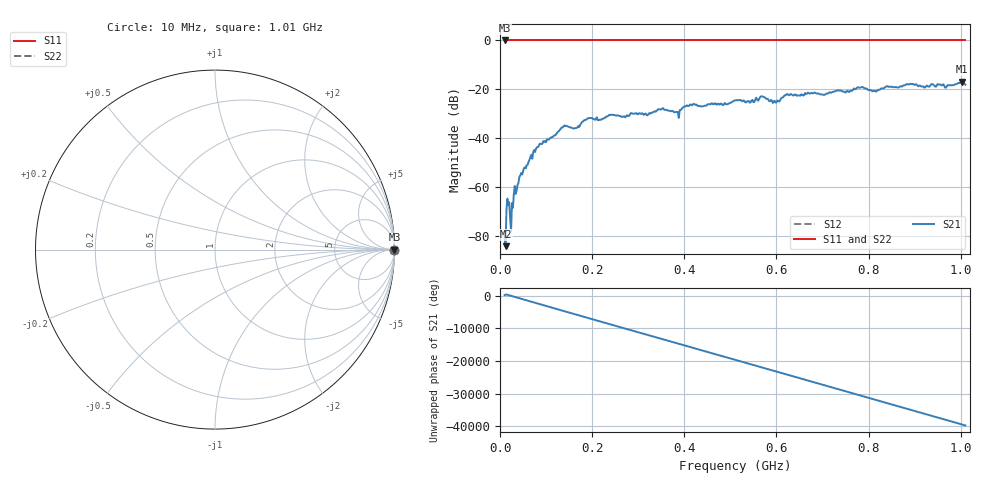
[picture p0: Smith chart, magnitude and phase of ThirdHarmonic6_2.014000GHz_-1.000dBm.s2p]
! 8/17/2025 12:11:08 AM
! C:\ANRITSUVNA\TEMP\TEMP.S2P
! CHANNEL.1
! TR.MEASUREMENT
! RAW.DATA
! RF.CORRECTION.OFF
! AVERAGING.OFF
! IF.BANDWIDTH: 5KHZ
! SWEEPTYPE:  FREQ.SWEEP(Linear)
! Reference Plane Port Info
! PORT:  PORT1  PORT2
! DISTANCE:  0  m  0  m
! TIME:  0  s  0  s
! PHASE.OFFSET:  0  deg.  0  deg.
! LOSS:  0  dB  0  dB
! REF.LOSS:  0  dB  0  dB
! REF.FREQ:  0  Hz  0  Hz
! Power Info
! POWER:  -20  dBm  -20  dBm
! EFF.POWER:  -20  dBm  -20  dBm
! SOURCE.ATTEN:  0  dB  0  dB
! TEST.ATTEN:  0  dB  0  dB
# GHZ S RI R 50.0
! FREQ.GHZ  S11RE  S11IM  S21RE  S21IM  S12RE  S12IM  S22RE  S22IM
!; PortSelection: Port_12
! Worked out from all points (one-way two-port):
!   501 points, 10 MHz to 1.01 GHz, reference 50 ohm
!   highest |S21| = -16.87 dB at 1.002 GHz (marker M1); lowest = -84.1 dB at 12 MHz (marker M2)
!   lowest |S11| = 0.0 dB at 10 MHz (marker M3)
!   |S11| at or under -10 dB: nowhere
!   |S22| runs from 0.0 to 0.0 dB; largest |S21 - S12| = 1.1
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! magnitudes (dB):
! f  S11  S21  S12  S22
! 10 MHz  0.0  -78.3  0.0  0.0
! 12 MHz  0.0  -84.1  0.0  0.0
! 18 MHz  0.0  -67.1  0.0  0.0
! 26 MHz  0.0  -66.5  0.0  0.0
! 30 MHz  0.0  -62.9  0.0  0.0
! 42 MHz  0.0  -55.8  0.0  0.0
! 76 MHz  0.0  -45.6  0.0  0.0
! 136 MHz  0.0  -35.5  0.0  0.0
! 164 MHz  0.0  -35.8  0.0  0.0
! 178 MHz  0.0  -33.3  0.0  0.0
! 344 MHz  0.0  -28.1  0.0  0.0
! 384 MHz  0.0  -29.3  0.0  0.0
! 416 MHz  0.0  -26.5  0.0  0.0
! 510 MHz  0.0  -24.5  0.0  0.0
! 570 MHz  0.0  -22.9  0.0  0.0
! 596 MHz  0.0  -24.6  0.0  0.0
! 622 MHz  0.0  -22.0  0.0  0.0
! 678 MHz  0.0  -21.6  0.0  0.0
! 814 MHz  0.0  -20.7  0.0  0.0
! 844 MHz  0.0  -18.9  0.0  0.0
! 1.002 GHz  0.0  -16.9  0.0  0.0
! 1.01 GHz  0.0  -18.1  0.0  0.0
